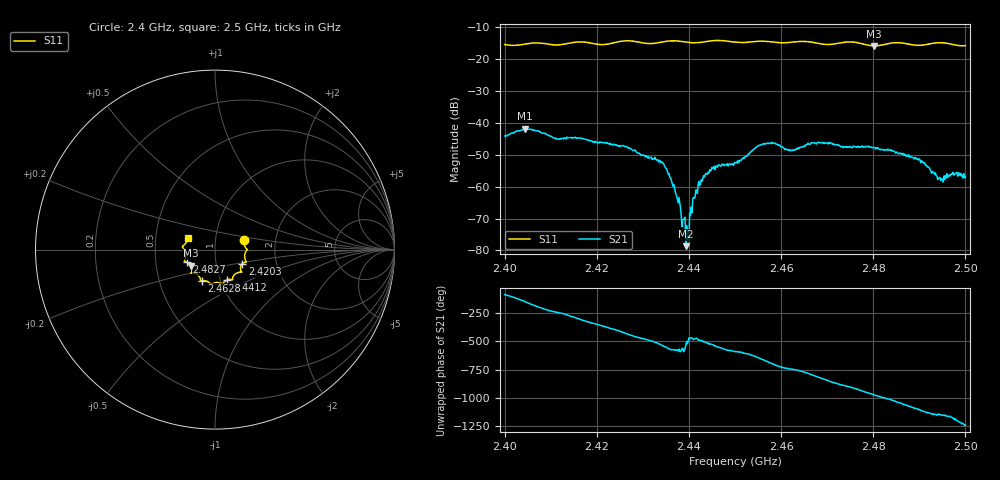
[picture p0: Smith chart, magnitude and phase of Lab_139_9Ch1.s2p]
# Hz S RI R 50
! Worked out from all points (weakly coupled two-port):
!   601 points, 2.4 GHz to 2.5 GHz, reference 50 ohm
!   highest |S21| = -41.75 dB at 2.4043 GHz (marker M1); lowest = -78.7 dB at 2.4393 GHz (marker M2)
!   lowest |S11| = -15.8 dB at 2.4802 GHz (marker M3), VSWR 1.39, Z = 37.5 - j6.91 ohm
!   |S11| at or under -10 dB: start of sweep to end of sweep
!   S12 and S22 are empty: the file has one direction only
!   S11 on the Smith chart (normalised r, x): 2.4 GHz: 1.38, +0.15; 2.4203 GHz: 1.34, -0.22; 2.4412 GHz: 1.08, -0.38; 2.4628 GHz: 0.82, -0.29; 2.4827 GHz: 0.72, -0.10; 2.5 GHz: 0.73, +0.10
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2.4e9  0.1621 0.053  0.000339 -0.00624  0 0  0 0
2.404333e9  0.1734 0.0067  -0.00688 -0.00441  0 0  0 0
2.416667e9  0.1744 -0.0697  0.00376 0.00446  0 0  0 0
2.420333e9  0.1521 -0.0792  0.00481 0.000539  0 0  0 0
2.433333e9  0.1 -0.1522  -0.00245 -0.000876  0 0  0 0
2.434667e9  0.0977 -0.1626  -0.00212 0.000265  0 0  0 0
2.436333e9  0.0983 -0.1686  -0.000964 0.000636  0 0  0 0
2.439333e9  0.0864 -0.1654  -0.000117 -4.24e-06  0 0  0 0
2.439833e9  0.0822 -0.1653  -0.000127 -0.000107  0 0  0 0
2.441167e9  0.0685 -0.1682  -0.000345 -0.000563  0 0  0 0
2.442667e9  0.0547 -0.1765  -0.000891 -0.000922  0 0  0 0
2.445e9  0.0439 -0.1905  -0.00198 -0.000414  0 0  0 0
2.45e9  0.0246 -0.1844  -0.00145 0.00187  0 0  0 0
2.456333e9  -0.021 -0.1913  0.00282 0.00368  0 0  0 0
2.462833e9  -0.072 -0.1733  0.00331 -0.00185  0 0  0 0
2.466667e9  -0.0805 -0.1678  0.00132 -0.0047  0 0  0 0
2.480167e9  -0.1357 -0.0897  -0.00118 0.00395  0 0  0 0
2.482667e9  -0.1577 -0.0705  0.000764 0.00377  0 0  0 0
2.483333e9  -0.1629 -0.0683  0.00125 0.00355  0 0  0 0
2.489667e9  -0.1638 -0.026  0.00257 -0.00103  0 0  0 0
2.494667e9  -0.1817 0.0169  0.000463 -0.00117  0 0  0 0
2.5e9  -0.1508 0.0645  -0.00135 -0.00047  0 0  0 0
